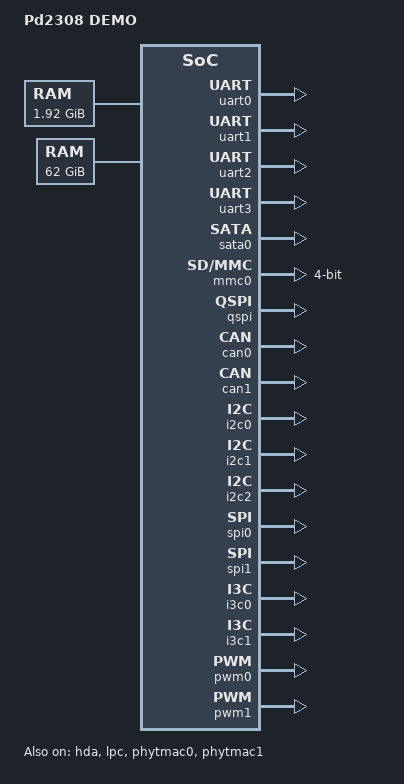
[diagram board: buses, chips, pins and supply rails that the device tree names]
// SPDX-License-Identifier: GPL-2.0
/*
 * DTS file for Phytium pd2308 devboard
 *
 * Copyright (C) 2023, Phytium Technology Co., Ltd.
 */

/dts-v1/;
/memreserve/ 0x80000000 0x10000;

#include "pd2308.dtsi"

/{
	model = "Pd2308 DEMO";
	compatible = "phytium,pd2308";
	#address-cells = <2>;
	#size-cells = <2>;

	chosen {
		stdout-path = "uart1:115200n8";
	};

	memory@80000000 {
		device_type = "memory";
		reg = <0x00 0x80000000 0x00 0x7b000000>;
		numa-node-id = <0x00>;
	};

	memory@01{
		device_type = "memory";
		reg = <0x20 0x00000000 0x0f 0x80000000>;
		numa-node-id = <0x00>;
	};
};

&uart0 {
	status = "ok";
};

&uart1 {
	status = "ok";
};

&uart2 {
	status = "ok";
};

&uart3 {
	status = "ok";
};

&sata0 {
	status = "ok";
};

&mmc0 {
	bus-width = <0x04>;
	max-frequency = <50000000>;
	cap-sdio-irq;
	cap-sd-highspeed;
	sd-uhs-sdr25;
	no-mmc;
	status = "okay";
};

&qspi {
	status = "ok";
};

&hda {
	status = "ok";
};

&can0 {
	status = "ok";
};

&can1 {
	status = "ok";
};

&i2c0 {
	status = "ok";
};

&i2c1 {
	status = "ok";
};

&i2c2 {
	status = "ok";
};

&gpio0 {
	status = "ok";
};

&gpio1 {
	status = "ok";
};

&gpio2 {
	status = "ok";
};

&gpio3 {
	status = "ok";
};

&spi0 {
	status = "ok";
};

&spi1 {
	status = "ok";
};

&i3c0 {
	status = "ok";
};

&i3c1 {
	status = "ok";
};

&pwm0 {
	phytium,db = <0 0 0 1000 1000 0>;
	status = "ok";
};

&pwm1 {
	phytium,db = <0 0 0 1000 1000 0>;
	status = "ok";
};

&lpc {
	status = "ok";
};

&phytmac0 {
	phy-mode = "sgmii";
	use-mii;
	status = "ok";
};

&phytmac1 {
	phy-mode = "usxgmii";
	status = "ok";
	fixed-link {
		speed = <0x2710>;
		full-duplex;
	};
};
